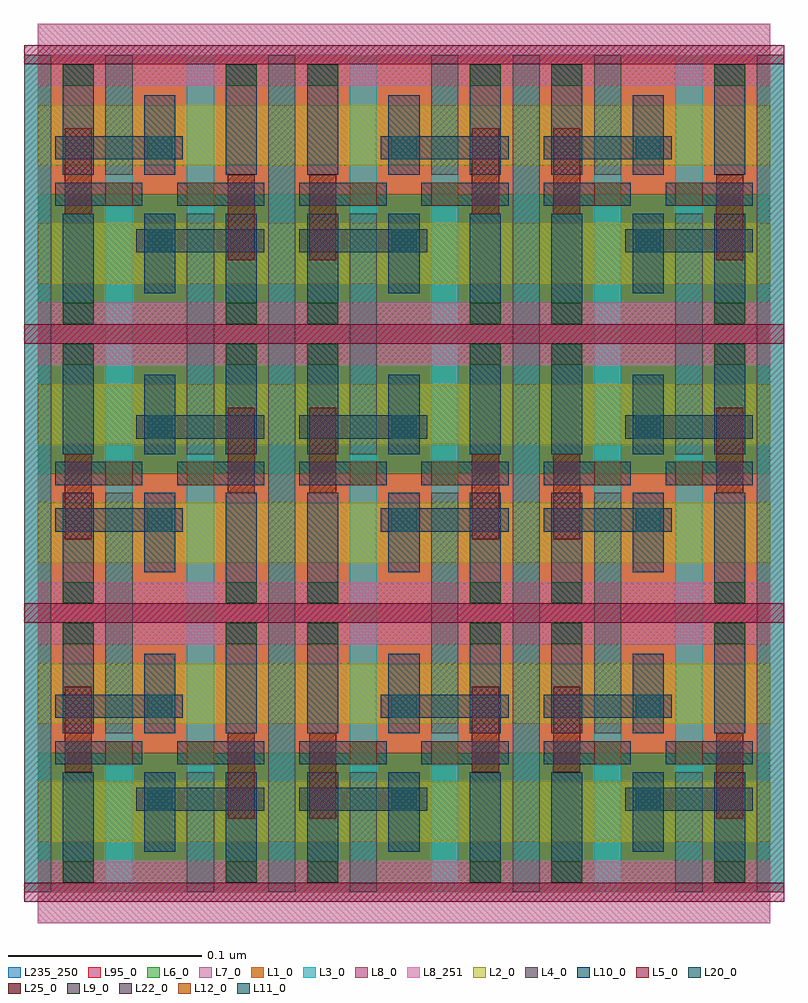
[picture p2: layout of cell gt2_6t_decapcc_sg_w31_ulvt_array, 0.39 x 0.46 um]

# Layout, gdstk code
from math import pi, radians
import gdstk
lib = gdstk.Library(unit=1e-6, precision=5e-10)
def R(c, l, rs):  # rectangles x0, y0, x1, y1
    for r in rs: c.add(gdstk.rectangle(r[:2], r[2:], *l))
def A(c, l, x, y, w, h, nx, ny, dx, dy):  # array of equal rectangles
    R(c, l, [(x+i*dx, y+j*dy, x+i*dx+w, y+j*dy+h) for i in range(nx) for j in range(ny)])
L1_0 = (1, 0)
L2_0 = (2, 0)
L3_0 = (3, 0)
L4_0 = (4, 0)
L5_0 = (5, 0)
L6_0 = (6, 0)
L7_0 = (7, 0)
L8_0 = (8, 0)
L8_251 = (8, 251)
L9_0 = (9, 0)
L10_0 = (10, 0)
L11_0 = (11, 0)
L12_0 = (12, 0)
L20_0 = (20, 0)
L22_0 = (22, 0)
L25_0 = (25, 0)
L95_0 = (95, 0)
L235_250 = (235, 250)

gt2_6t_decapcc_sg_w31_ul = lib.new_cell('gt2_6t_decapcc_sg_w31_ulvt')
R(gt2_6t_decapcc_sg_w31_ul, L1_0, [(0,0.072,0.126,0.144)])
R(gt2_6t_decapcc_sg_w31_ul, L2_0, [(0,0.026,0.126,0.057), (0,0.087,0.126,0.118)])
A(gt2_6t_decapcc_sg_w31_ul, L3_0, -0.007, 0, 0.014, 0.144, 4, 1, 0.042, 0)
R(gt2_6t_decapcc_sg_w31_ul, L4_0, [(-0.007,0,0.007,0.144), (0.077,0,0.091,0.062), (0.119,0,0.133,0.144), (0.035,0.082,0.049,0.144)])
R(gt2_6t_decapcc_sg_w31_ul, L5_0, [(-0.007,-0.005,0.133,0.005), (-0.007,0.139,0.133,0.149)])
R(gt2_6t_decapcc_sg_w31_ul, L6_0, [(0,0,0.126,0.072)])
R(gt2_6t_decapcc_sg_w31_ul, L7_0, [(0,0.072,0.126,0.144)])
R(gt2_6t_decapcc_sg_w31_ul, L8_0, [(0,-0.016,0.126,0.016), (0,0.128,0.126,0.16)])
R(gt2_6t_decapcc_sg_w31_ul, L8_251, [(0,-0.016,0.126,0.016), (0,0.128,0.126,0.16)])
R(gt2_6t_decapcc_sg_w31_ul, L9_0, [(0.013,0.005,0.029,0.016), (0.097,0.005,0.113,0.016), (0.013,0.128,0.029,0.139), (0.097,0.128,0.113,0.139)])
R(gt2_6t_decapcc_sg_w31_ul, L10_0, [(0.013,0.005,0.029,0.062), (0.097,0.005,0.113,0.062), (0.055,0.021,0.071,0.062), (0.013,0.082,0.029,0.139), (0.055,0.082,0.071,0.123), (0.097,0.082,0.113,0.139)])
R(gt2_6t_decapcc_sg_w31_ul, L11_0, [(0.0565,0.042,0.0695,0.054), (0.0565,0.09,0.0695,0.102)])
R(gt2_6t_decapcc_sg_w31_ul, L12_0, [(0.035,0.066,0.049,0.078), (0.077,0.066,0.091,0.078)])
R(gt2_6t_decapcc_sg_w31_ul, L20_0, [(0.051,0.042,0.117,0.054), (0.009,0.066,0.054,0.078), (0.072,0.066,0.117,0.078), (0.009,0.09,0.075,0.102)])
R(gt2_6t_decapcc_sg_w31_ul, L22_0, [(0.098,0.042,0.112,0.054), (0.014,0.066,0.028,0.078), (0.098,0.066,0.112,0.078), (0.014,0.09,0.028,0.102)])
R(gt2_6t_decapcc_sg_w31_ul, L25_0, [(0.098,0.038,0.112,0.082), (0.014,0.062,0.028,0.106)])
R(gt2_6t_decapcc_sg_w31_ul, L95_0, [(0,0,0.126,0.144)])
R(gt2_6t_decapcc_sg_w31_ul, L235_250, [(0,0,0.126,0.144)])
gt2_6t_decapcc_sg_w31_ul.add(gdstk.Label('vss', (0.063,0), layer=8, texttype=251))
gt2_6t_decapcc_sg_w31_ul.add(gdstk.Label('vdd', (0.063,0.144), layer=8, texttype=251))

c_gt2_6t_decapcc_sg_w31_ul = lib.new_cell('gt2_6t_decapcc_sg_w31_ulvt_array')
c_gt2_6t_decapcc_sg_w31_ul.add(gdstk.Reference(gt2_6t_decapcc_sg_w31_ul, (0,0)))
c_gt2_6t_decapcc_sg_w31_ul.add(gdstk.Reference(gt2_6t_decapcc_sg_w31_ul, (0.252,0), rotation=pi, x_reflection=True))
c_gt2_6t_decapcc_sg_w31_ul.add(gdstk.Reference(gt2_6t_decapcc_sg_w31_ul, (0.252,0)))
c_gt2_6t_decapcc_sg_w31_ul.add(gdstk.Reference(gt2_6t_decapcc_sg_w31_ul, (0,0.288), x_reflection=True))
c_gt2_6t_decapcc_sg_w31_ul.add(gdstk.Reference(gt2_6t_decapcc_sg_w31_ul, (0.252,0.288), rotation=pi))
c_gt2_6t_decapcc_sg_w31_ul.add(gdstk.Reference(gt2_6t_decapcc_sg_w31_ul, (0.252,0.288), x_reflection=True))
c_gt2_6t_decapcc_sg_w31_ul.add(gdstk.Reference(gt2_6t_decapcc_sg_w31_ul, (0,0.288)))
c_gt2_6t_decapcc_sg_w31_ul.add(gdstk.Reference(gt2_6t_decapcc_sg_w31_ul, (0.252,0.288), rotation=pi, x_reflection=True))
c_gt2_6t_decapcc_sg_w31_ul.add(gdstk.Reference(gt2_6t_decapcc_sg_w31_ul, (0.252,0.288)))

lib.write_gds('gt2_6t_decapcc_sg_w31_ulvt_array.gds')
